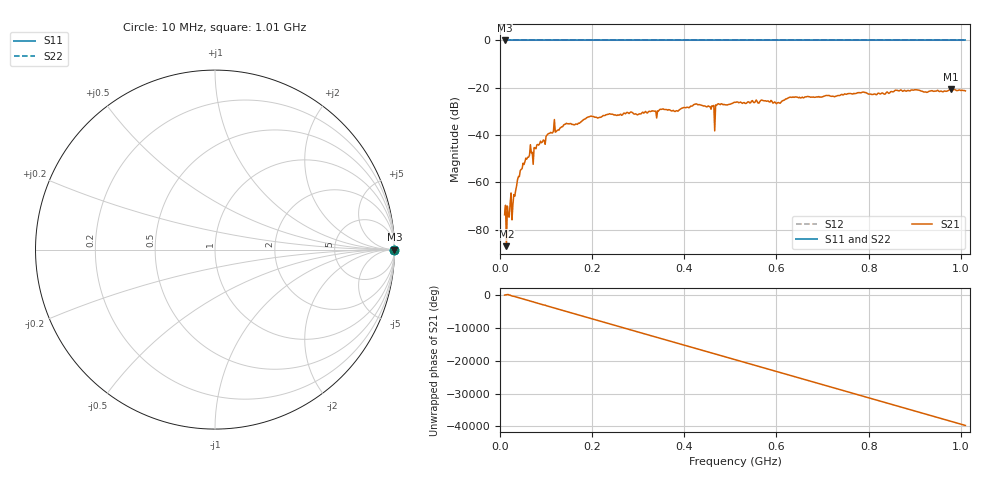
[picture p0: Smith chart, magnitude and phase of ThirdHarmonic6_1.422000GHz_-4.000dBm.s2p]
! 8/16/2025 4:21:07 PM
! C:\ANRITSUVNA\TEMP\TEMP.S2P
! CHANNEL.1
! TR.MEASUREMENT
! RAW.DATA
! RF.CORRECTION.OFF
! AVERAGING.OFF
! IF.BANDWIDTH: 5KHZ
! SWEEPTYPE:  FREQ.SWEEP(Linear)
! Reference Plane Port Info
! PORT:  PORT1  PORT2
! DISTANCE:  0  m  0  m
! TIME:  0  s  0  s
! PHASE.OFFSET:  0  deg.  0  deg.
! LOSS:  0  dB  0  dB
! REF.LOSS:  0  dB  0  dB
! REF.FREQ:  0  Hz  0  Hz
! Power Info
! POWER:  -20  dBm  -20  dBm
! EFF.POWER:  -20  dBm  -20  dBm
! SOURCE.ATTEN:  0  dB  0  dB
! TEST.ATTEN:  0  dB  0  dB
# GHZ S RI R 50.0
! FREQ.GHZ  S11RE  S11IM  S21RE  S21IM  S12RE  S12IM  S22RE  S22IM
!; PortSelection: Port_12
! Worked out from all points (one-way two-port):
!   501 points, 10 MHz to 1.01 GHz, reference 50 ohm
!   highest |S21| = -20.59 dB at 978 MHz (marker M1); lowest = -87.0 dB at 14 MHz (marker M2)
!   lowest |S11| = 0.0 dB at 10 MHz (marker M3)
!   |S11| at or under -10 dB: nowhere
!   |S22| runs from 0.0 to 0.0 dB; largest |S21 - S12| = 1.1
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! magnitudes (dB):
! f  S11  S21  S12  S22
! 10 MHz  0.0  -73.7  0.0  0.0
! 14 MHz  0.0  -87.0  0.0  0.0
! 30 MHz  0.0  -65.2  0.0  0.0
! 42 MHz  0.0  -57.6  0.0  0.0
! 64 MHz  0.0  -48.6  0.0  0.0
! 74 MHz  0.0  -45.3  0.0  0.0
! 114 MHz  0.0  -39.1  0.0  0.0
! 178 MHz  0.0  -34.0  0.0  0.0
! 236 MHz  0.0  -31.2  0.0  0.0
! 344 MHz  0.0  -29.8  0.0  0.0
! 424 MHz  0.0  -26.9  0.0  0.0
! 460 MHz  0.0  -27.6  0.0  0.0
! 462 MHz  0.0  -27.7  0.0  0.0
! 470 MHz  0.0  -27.4  0.0  0.0
! 472 MHz  0.0  -26.9  0.0  0.0
! 510 MHz  0.0  -26.2  0.0  0.0
! 604 MHz  0.0  -26.2  0.0  0.0
! 632 MHz  0.0  -24.1  0.0  0.0
! 678 MHz  0.0  -24.0  0.0  0.0
! 844 MHz  0.0  -22.4  0.0  0.0
! 978 MHz  0.0  -20.6  0.0  0.0
! 1.01 GHz  0.0  -21.3  0.0  0.0
